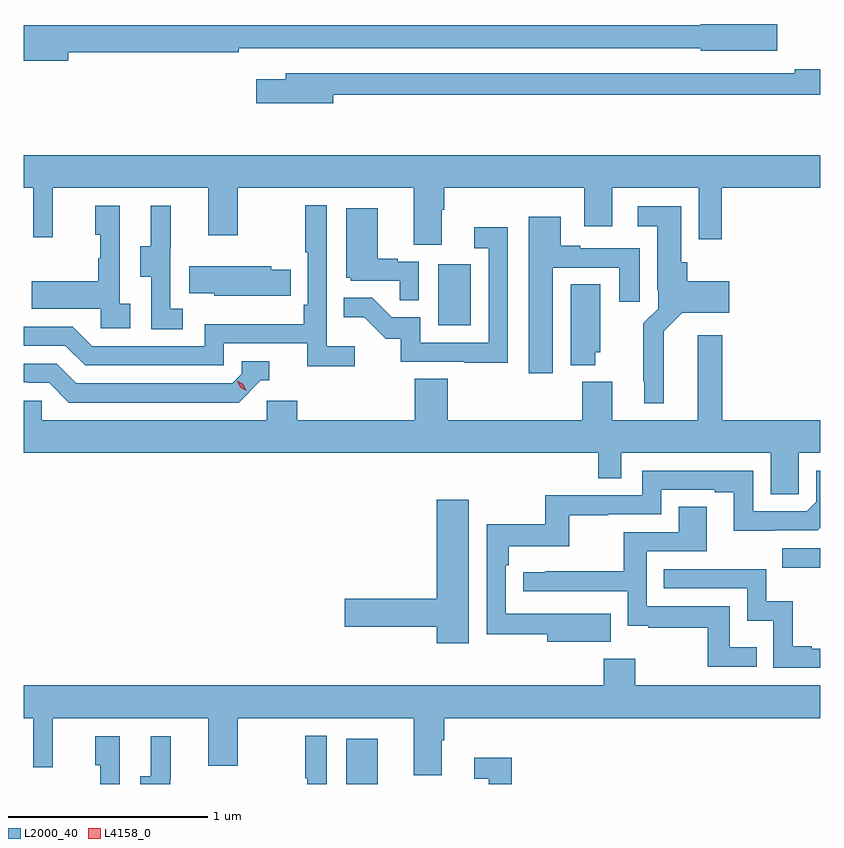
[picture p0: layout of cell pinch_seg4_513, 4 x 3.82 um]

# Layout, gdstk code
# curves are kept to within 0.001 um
import gdstk
lib = gdstk.Library(unit=1e-6, precision=1e-09)
def R(c, l, rs):  # rectangles x0, y0, x1, y1
    for r in rs: c.add(gdstk.rectangle(r[:2], r[2:], *l))
def P(c, l, *ps):  # polygons
    for p in ps: c.add(gdstk.Polygon(p, *l))
L2000_40 = (2000, 40)
L4158_0 = (4158, 0)

pinch_seg4_513 = lib.new_cell('pinch_seg4_513')
R(pinch_seg4_513, L2000_40, [(985.634,757.861,985.792,758.089), (987.825,758.948,988.015,759.045), (986.096,760.164,986.26,760.471)])
P(pinch_seg4_513, L2000_40, [(984.238,761.536),(985.094,761.536),(985.094,761.556),(987.414,761.556),(987.414,761.543),(987.799,761.543),(987.799,761.678),(987.414,761.678),(987.414,761.672),(984.015,761.672),(984.015,761.494),(984.238,761.494)],
  [(985.57,761.322),(988.015,761.322),(988.015,761.45),(987.886,761.45),(987.886,761.43),(985.331,761.43),(985.331,761.401),(985.182,761.401),(985.182,761.279),(985.57,761.279)],
  [(986.113,760.744),(986.126,760.744),(986.126,760.856),(986.831,760.856),(986.831,760.662),(986.971,760.662),(986.971,760.856),(987.405,760.856),(987.405,760.596),(987.521,760.596),(987.521,760.856),(988.015,760.856),(988.015,761.02),(984.015,761.02),(984.015,760.856),(984.063,760.856),(984.063,760.608),(984.161,760.608),(984.161,760.856),(984.941,760.856),(984.941,760.617),(985.089,760.617),(985.089,760.856),(985.973,760.856),(985.973,760.57),(986.113,760.57)],
  [(985.678,760.06),(985.536,760.06),(985.536,760.768),(985.428,760.768),(985.428,760.531),(985.44,760.531),(985.44,760.267),(985.422,760.267),(985.422,760.171),(984.924,760.171),(984.924,760.059),(984.36,760.059),(984.261,760.158),(984.015,760.158),(984.015,760.062),(984.224,760.062),(984.323,759.963),(985.02,759.963),(985.02,760.074),(985.439,760.074),(985.439,759.958),(985.678,759.958)],
  [(984.814,760.247),(984.75,760.247),(984.75,760.551),(984.752,760.551),(984.752,760.765),(984.653,760.765),(984.653,760.563),(984.599,760.563),(984.599,760.408),(984.654,760.408),(984.654,760.144),(984.814,760.144)],
  [(984.55,760.274),(984.498,760.274),(984.498,760.765),(984.374,760.765),(984.374,760.62),(984.4,760.62),(984.4,760.502),(984.39,760.502),(984.39,760.387),(984.055,760.387),(984.055,760.247),(984.402,760.247),(984.402,760.149),(984.55,760.149)],
  [(987.229,760.136),(987.321,760.229),(987.559,760.229),(987.559,760.387),(987.347,760.387),(987.347,760.482),(987.316,760.482),(987.316,760.762),(987.099,760.762),(987.099,760.661),(987.197,760.661),(987.197,760.342),(987.201,760.342),(987.201,760.248),(987.127,760.174),(987.127,759.883),(987.131,759.883),(987.131,759.773),(987.229,759.773)],
  [(985.998,760.485),(985.892,760.485),(985.892,760.498),(985.792,760.498),(985.792,760.753),(985.634,760.753),(985.634,760.404),(985.656,760.404),(985.656,760.389),(985.903,760.389),(985.903,760.291),(985.998,760.291)],
  [(986.671,760.455),(987.005,760.455),(987.005,760.284),(987.109,760.284),(987.109,760.551),(986.809,760.551),(986.809,760.564),(986.713,760.564),(986.713,760.711),(986.552,760.711),(986.552,759.924),(986.671,759.924)],
  [(986.445,760.657),(986.277,760.657),(986.277,760.551),(986.349,760.551),(986.349,760.077),(986.007,760.077),(986.007,760.206),(985.863,760.206),(985.765,760.304),(985.621,760.304),(985.621,760.205),(985.725,760.205),(985.832,760.098),(985.909,760.098),(985.909,759.981),(986.227,759.981),(986.227,759.976),(986.445,759.976)],
  [(985.355,760.443),(985.257,760.443),(985.257,760.462),(984.847,760.462),(984.847,760.325),(984.972,760.325),(984.972,760.313),(985.355,760.313)],
  [(986.884,760.029),(986.911,760.029),(986.911,760.37),(986.762,760.37),(986.762,759.965),(986.884,759.965)],
  [(987.906,759.524),(988.015,759.524),(988.015,759.688),(987.524,759.688),(987.524,760.114),(987.401,760.114),(987.401,759.688),(986.971,759.688),(986.971,759.88),(986.819,759.88),(986.819,759.688),(986.144,759.688),(986.144,759.896),(985.979,759.896),(985.979,759.688),(985.388,759.688),(985.388,759.786),(985.236,759.786),(985.236,759.688),(984.105,759.688),(984.105,759.786),(984.015,759.786),(984.015,759.524),(986.899,759.524),(986.899,759.397),(987.015,759.397),(987.015,759.524),(987.767,759.524),(987.767,759.316),(987.906,759.316)],
  [(985.206,759.888),(985.249,759.888),(985.249,759.984),(985.11,759.984),(985.11,759.921),(985.062,759.873),(984.279,759.873),(984.18,759.972),(984.015,759.972),(984.015,759.879),(984.036,759.879),(984.036,759.876),(984.143,759.876),(984.242,759.777),(985.095,759.777)],
  [(986.963,758.716),(986.436,758.715),(986.436,758.96),(986.45,758.96),(986.45,759.056),(986.755,759.056),(986.755,759.211),(986.951,759.211),(986.951,759.216),(987.216,759.216),(987.216,759.339),(987.485,759.339),(987.485,759.327),(987.581,759.327),(987.581,759.134),(988.002,759.135),(988.015,759.148),(988.015,759.435),(987.996,759.435),(987.996,759.279),(987.948,759.231),(987.678,759.231),(987.678,759.435),(987.12,759.435),(987.12,759.312),(986.634,759.312),(986.634,759.166),(986.34,759.166),(986.34,758.614),(986.645,758.614),(986.645,758.576),(986.963,758.576)],
  [(986.251,759.289),(986.09,759.289),(986.09,758.792),(985.626,758.792),(985.626,758.65),(986.09,758.65),(986.09,758.568),(986.251,758.568)],
  [(987.695,758.548),(987.561,758.548),(987.561,758.754),(987.144,758.754),(987.144,759.03),(987.445,759.03),(987.445,759.254),(987.305,759.254),(987.305,759.126),(987.028,759.126),(987.028,758.93),(986.635,758.93),(986.635,758.925),(986.523,758.925),(986.523,758.829),(987.048,758.829),(987.048,758.657),(987.151,758.657),(987.151,758.646),(987.45,758.646),(987.45,758.451),(987.695,758.451)],
  [(988.015,758.541),(987.973,758.541),(987.973,758.554),(987.877,758.554),(987.877,758.779),(987.744,758.779),(987.744,758.94),(987.229,758.94),(987.229,758.844),(987.648,758.844),(987.648,758.681),(987.78,758.681),(987.78,758.445),(988.015,758.445)],
  [(986.113,758.08),(986.126,758.08),(986.126,758.192),(988.015,758.192),(988.015,758.356),(987.087,758.356),(987.087,758.491),(986.927,758.491),(986.927,758.356),(984.015,758.356),(984.015,758.192),(984.063,758.192),(984.063,757.944),(984.161,757.944),(984.161,758.192),(984.941,758.192),(984.941,757.953),(985.089,757.953),(985.089,758.192),(985.973,758.192),(985.973,757.906),(986.113,757.906)],
  [(985.536,758.104),(985.428,758.104),(985.428,757.891),(985.439,757.891),(985.439,757.861),(985.536,757.861)],
  [(984.498,758.101),(984.374,758.101),(984.374,757.956),(984.4,757.956),(984.4,757.861),(984.498,757.861)],
  [(984.75,757.887),(984.752,757.887),(984.752,758.101),(984.653,758.101),(984.653,757.899),(984.599,757.899),(984.599,757.861),(984.75,757.861)],
  [(986.465,757.993),(986.277,757.993),(986.277,757.887),(986.349,757.887),(986.349,757.861),(986.465,757.861)])
P(pinch_seg4_513, L4158_0, [(985.133,759.835),(985.102,759.854),(985.086,759.887),(985.086,759.887),(985.086,759.887),(985.117,759.868),(985.133,759.835),(985.133,759.835)])

lib.write_gds('pinch_seg4_513.gds')
